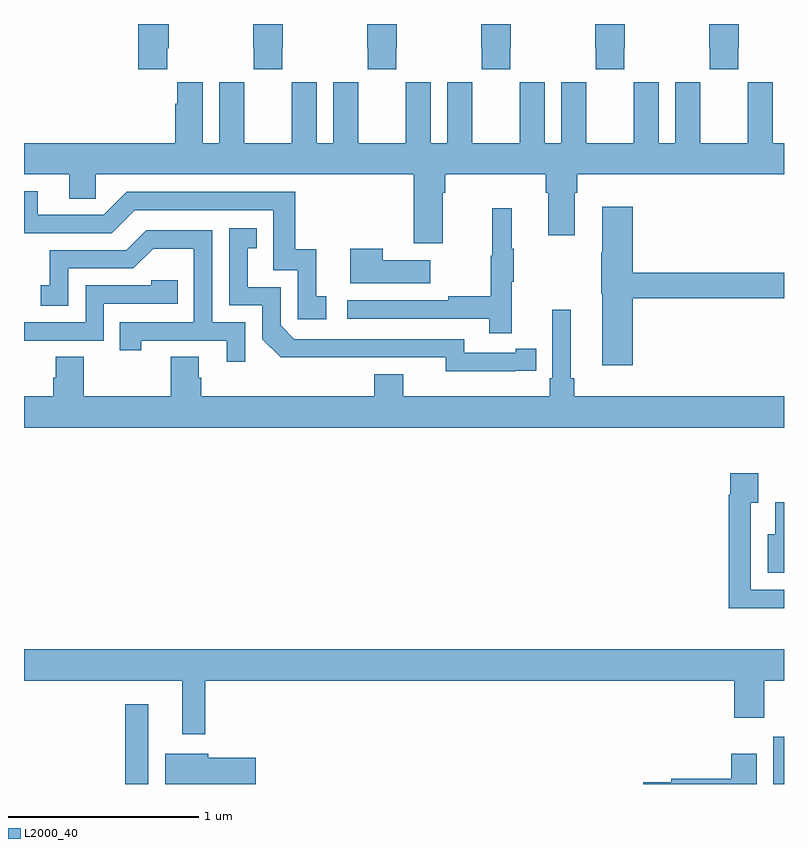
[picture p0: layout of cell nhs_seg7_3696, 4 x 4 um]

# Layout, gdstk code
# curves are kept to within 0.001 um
import gdstk
lib = gdstk.Library(unit=1e-6, precision=1e-09)
def R(c, l, rs):  # rectangles x0, y0, x1, y1
    for r in rs: c.add(gdstk.rectangle(r[:2], r[2:], *l))
def P(c, l, *ps):  # polygons
    for p in ps: c.add(gdstk.Polygon(p, *l))
L2000_40 = (2000, 40)

nhs_seg7_3696 = lib.new_cell('nhs_seg7_3696')
R(nhs_seg7_3696, L2000_40, [(345.534,1072,345.655,1072.42), (348.944,1072,349,1072.25)])
P(nhs_seg7_3696, L2000_40, [(348.607,1075.873),(348.609,1075.873),(348.609,1075.761),(348.759,1075.761),(348.759,1075.873),(348.762,1075.873),(348.762,1076),(348.607,1076)],
  [(348.159,1075.873),(348.162,1075.873),(348.162,1076),(348.007,1076),(348.007,1075.873),(348.009,1075.873),(348.009,1075.761),(348.159,1075.761)],
  [(347.559,1075.873),(347.562,1075.873),(347.562,1076),(347.407,1076),(347.407,1075.873),(347.409,1075.873),(347.409,1075.761),(347.559,1075.761)],
  [(346.959,1075.873),(346.962,1075.873),(346.962,1076),(346.807,1076),(346.807,1075.873),(346.809,1075.873),(346.809,1075.761),(346.959,1075.761)],
  [(346.359,1075.873),(346.362,1075.873),(346.362,1076),(346.207,1076),(346.207,1075.873),(346.209,1075.873),(346.209,1075.761),(346.359,1075.761)],
  [(345.755,1075.873),(345.762,1075.873),(345.762,1076),(345.602,1076),(345.602,1075.761),(345.755,1075.761)],
  [(347.828,1075.693),(347.828,1075.372),(347.74,1075.372),(347.74,1075.693),(347.61,1075.693),(347.61,1075.58),(347.609,1075.58),(347.609,1075.372),(347.359,1075.372),(347.359,1075.58),(347.358,1075.58),(347.358,1075.693),(347.228,1075.693),(347.228,1075.372),(347.14,1075.372),(347.14,1075.693),(347.01,1075.693),(347.01,1075.58),(347.009,1075.58),(347.009,1075.372),(346.759,1075.372),(346.759,1075.58),(346.758,1075.58),(346.758,1075.693),(346.628,1075.693),(346.628,1075.372),(346.54,1075.372),(346.54,1075.693),(346.41,1075.693),(346.41,1075.58),(346.409,1075.58),(346.409,1075.372),(346.159,1075.372),(346.159,1075.58),(346.158,1075.58),(346.158,1075.693),(346.028,1075.693),(346.028,1075.372),(345.94,1075.372),(345.94,1075.693),(345.806,1075.693),(345.806,1075.58),(345.797,1075.58),(345.797,1075.372),(345,1075.372),(345,1075.208),(345.239,1075.208),(345.239,1075.081),(345.378,1075.081),(345.378,1075.208),(347.051,1075.208),(347.051,1074.846),(347.203,1074.846),(347.203,1075.112),(347.216,1075.112),(347.216,1075.208),(347.747,1075.208),(347.747,1075.112),(347.759,1075.112),(347.759,1074.888),(347.899,1074.888),(347.899,1075.112),(347.912,1075.112),(347.912,1075.208),(349,1075.208),(349,1075.372),(348.94,1075.372),(348.94,1075.693),(348.81,1075.693),(348.81,1075.58),(348.809,1075.58),(348.809,1075.372),(348.559,1075.372),(348.559,1075.58),(348.558,1075.58),(348.558,1075.693),(348.428,1075.693),(348.428,1075.372),(348.34,1075.372),(348.34,1075.693),(348.21,1075.693),(348.21,1075.58),(348.209,1075.58),(348.209,1075.372),(347.959,1075.372),(347.959,1075.58),(347.958,1075.58),(347.958,1075.693)],
  [(346.591,1074.567),(346.538,1074.567),(346.538,1074.814),(346.427,1074.814),(346.427,1075.116),(345.54,1075.116),(345.42,1074.996),(345.073,1074.996),(345.073,1075.119),(345,1075.119),(345,1074.9),(345.462,1074.9),(345.582,1075.02),(346.311,1075.02),(346.311,1074.705),(346.44,1074.705),(346.44,1074.447),(346.591,1074.447)],
  [(348.203,1074.556),(349,1074.556),(349,1074.692),(348.203,1074.692),(348.203,1075.039),(348.044,1075.039),(348.044,1074.8),(348.037,1074.8),(348.037,1074.579),(348.044,1074.579),(348.044,1074.204),(348.203,1074.204)],
  [(347.567,1074.643),(347.578,1074.643),(347.578,1074.817),(347.567,1074.817),(347.567,1075.03),(347.464,1075.03),(347.464,1074.78),(347.457,1074.78),(347.457,1074.566),(347.233,1074.566),(347.233,1074.546),(346.701,1074.546),(346.701,1074.45),(347.449,1074.45),(347.449,1074.372),(347.567,1074.372)],
  [(347.588,1074.174),(347.696,1074.174),(347.696,1074.29),(347.588,1074.29),(347.588,1074.27),(347.316,1074.27),(347.316,1074.342),(346.422,1074.342),(346.35,1074.414),(346.35,1074.615),(346.177,1074.615),(346.177,1074.819),(346.226,1074.819),(346.226,1074.925),(346.08,1074.925),(346.08,1074.519),(346.254,1074.519),(346.254,1074.342),(346.352,1074.245),(347.22,1074.246),(347.22,1074.173)],
  [(346.164,1074.429),(345.99,1074.429),(345.99,1074.915),(345.644,1074.915),(345.539,1074.81),(345.136,1074.81),(345.136,1074.625),(345.087,1074.625),(345.087,1074.516),(345.234,1074.516),(345.234,1074.714),(345.576,1074.714),(345.68,1074.818),(345.894,1074.818),(345.894,1074.429),(345.505,1074.429),(345.505,1074.282),(345.616,1074.282),(345.616,1074.333),(346.067,1074.333),(346.067,1074.222),(346.164,1074.222)],
  [(347.137,1074.757),(346.889,1074.757),(346.889,1074.817),(346.718,1074.817),(346.718,1074.635),(347.137,1074.635)],
  [(345.42,1074.528),(345.809,1074.528),(345.809,1074.651),(345.669,1074.651),(345.669,1074.624),(345.324,1074.624),(345.324,1074.429),(345,1074.429),(345,1074.333),(345.42,1074.333)],
  [(349,1074.04),(347.897,1074.04),(347.897,1074.136),(347.878,1074.136),(347.878,1074.496),(347.781,1074.496),(347.781,1074.136),(347.768,1074.136),(347.768,1074.04),(346.996,1074.04),(346.996,1074.157),(346.844,1074.157),(346.844,1074.04),(345.932,1074.04),(345.932,1074.138),(345.919,1074.138),(345.919,1074.248),(345.772,1074.248),(345.772,1074.04),(345.315,1074.04),(345.315,1074.248),(345.167,1074.248),(345.167,1074.138),(345.155,1074.138),(345.155,1074.04),(345,1074.04),(345,1073.876),(349,1073.876)],
  [(349,1073.022),(348.825,1073.022),(348.825,1073.479),(348.865,1073.479),(348.865,1073.635),(348.717,1073.635),(348.717,1073.522),(348.709,1073.522),(348.709,1072.925),(349,1072.925)],
  [(349,1073.482),(348.953,1073.482),(348.953,1073.314),(348.914,1073.314),(348.914,1073.111),(349,1073.111)],
  [(345.955,1072.544),(348.737,1072.544),(348.737,1072.35),(348.897,1072.35),(348.897,1072.544),(349,1072.544),(349,1072.708),(345,1072.708),(345,1072.544),(345.833,1072.544),(345.833,1072.263),(345.955,1072.263)],
  [(346.219,1072.137),(345.97,1072.137),(345.97,1072.159),(345.743,1072.159),(345.743,1072),(346.219,1072)],
  [(348.856,1072.159),(348.722,1072.159),(348.722,1072.028),(348.406,1072.028),(348.406,1072.008),(348.26,1072.008),(348.26,1072),(348.856,1072)])

lib.write_gds('nhs_seg7_3696.gds')
